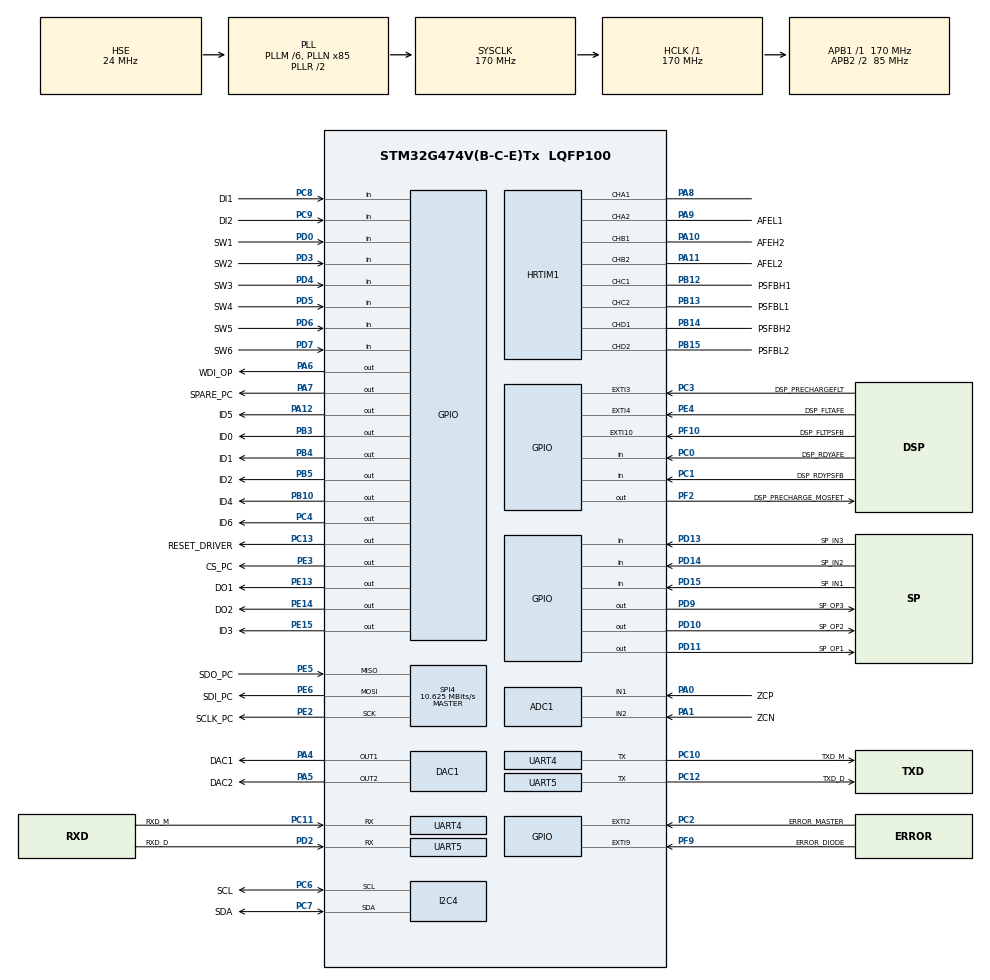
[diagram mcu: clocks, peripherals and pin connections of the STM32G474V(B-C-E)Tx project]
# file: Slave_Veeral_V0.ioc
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ADC1.Channel-0\#ChannelRegularConversion=ADC_CHANNEL_1
ADC1.Channel-1\#ChannelRegularConversion=ADC_CHANNEL_1
ADC1.NbrOfConversion=2
ADC1.NbrOfConversionFlag=1
ADC1.OffsetNumber-0\#ChannelRegularConversion=ADC_OFFSET_NONE
ADC1.OffsetNumber-1\#ChannelRegularConversion=ADC_OFFSET_NONE
ADC1.Rank-0\#ChannelRegularConversion=1
ADC1.Rank-1\#ChannelRegularConversion=2
ADC1.SamplingTime-0\#ChannelRegularConversion=ADC_SAMPLETIME_2CYCLES_5
ADC1.SamplingTime-1\#ChannelRegularConversion=ADC_SAMPLETIME_2CYCLES_5
ADC1.master=1
DAC1.DAC_Channel-DAC_OUT2=DAC_CHANNEL_2
Dma.ADC1.0.Direction=DMA_PERIPH_TO_MEMORY
Dma.ADC1.0.EventEnable=DISABLE
Dma.ADC1.0.Instance=DMA1_Channel1
Dma.ADC1.0.MemDataAlignment=DMA_MDATAALIGN_HALFWORD
Dma.ADC1.0.MemInc=DMA_MINC_ENABLE
Dma.ADC1.0.Mode=DMA_NORMAL
Dma.ADC1.0.PeriphDataAlignment=DMA_PDATAALIGN_HALFWORD
Dma.ADC1.0.PeriphInc=DMA_PINC_DISABLE
Dma.ADC1.0.Polarity=HAL_DMAMUX_REQ_GEN_RISING
Dma.ADC1.0.Priority=DMA_PRIORITY_LOW
Dma.ADC1.0.RequestNumber=1
Dma.ADC1.0.SignalID=NONE
Dma.ADC1.0.SyncEnable=DISABLE
Dma.ADC1.0.SyncPolarity=HAL_DMAMUX_SYNC_NO_EVENT
Dma.ADC1.0.SyncRequestNumber=1
Dma.ADC1.0.SyncSignalID=NONE
Dma.Request0=ADC1
HRTIM1.CompareUnit1-Output_TB1TB2=HRTIM_COMPAREUNIT_1
HRTIM1.CompareUnit1-Output_TC1TC2=HRTIM_COMPAREUNIT_1
HRTIM1.CompareUnit1-Output_TD1TD2=HRTIM_COMPAREUNIT_1
HRTIM1.CompareUnit2-Output_TC1TC2=HRTIM_COMPAREUNIT_2
HRTIM1.CompareUnit2-Output_TD1TD2=HRTIM_COMPAREUNIT_2
HRTIM1.CompareUnit3-Output_TB1TB2=HRTIM_COMPAREUNIT_3
HRTIM1.CompareValue1-Output_TB1TB2=0
HRTIM1.CompareValue1-Output_TC1TC2=0
HRTIM1.CompareValue1-Output_TD1TD2=0
HRTIM1.CompareValue2-Output_TC1TC2=4250
HRTIM1.CompareValue2-Output_TD1TD2=4250
HRTIM1.CompareValue3-Output_TB1TB2=3
HRTIM1.DeadTimeInsertion-Output_TB1TB2=HRTIM_TIMDEADTIMEINSERTION_ENABLED
HRTIM1.DeadTimeInsertion-Output_TC1TC2=HRTIM_TIMDEADTIMEINSERTION_ENABLED
HRTIM1.DeadTimeInsertion-Output_TD1TD2=HRTIM_TIMDEADTIMEINSERTION_ENABLED
HRTIM1.Deadtimeconfig-Output_TB1TB2=HRTIM_TIMERINDEX_TIMER_B
HRTIM1.FallingValue-Output_TB1TB2=500
HRTIM1.FallingValue-Output_TC1TC2=435
HRTIM1.FallingValue-Output_TD1TD2=435
HRTIM1.GreaterCMP3_TB=HRTIM_TIMERGTCMP3_GREATER
HRTIM1.NumberResetSource1-Output_TC1TC2=1
HRTIM1.NumberResetSource1-Output_TD1TD2=1
HRTIM1.NumberResetTrigger-Output_TB1TB2=1
HRTIM1.NumberResetTrigger-Output_TC1TC2=1
HRTIM1.NumberResetTrigger-Output_TD1TD2=1
HRTIM1.NumberSetSource1-Output_TC1TC2=1
HRTIM1.NumberSetSource1-Output_TD1TD2=1
HRTIM1.Periode_TB=34000
HRTIM1.Periode_TC=8500
HRTIM1.Periode_TD=8500
HRTIM1.PrescalerDead-Output_TB1TB2=HRTIM_TIMDEADTIME_PRESCALERRATIO_DIV4
HRTIM1.PrescalerDead-Output_TC1TC2=HRTIM_TIMDEADTIME_PRESCALERRATIO_DIV2
HRTIM1.PrescalerDead-Output_TD1TD2=HRTIM_TIMDEADTIME_PRESCALERRATIO_DIV2
HRTIM1.PrescalerRatio_TB=HRTIM_PRESCALERRATIO_DIV1
HRTIM1.PrescalerRatio_TC=HRTIM_PRESCALERRATIO_DIV1
HRTIM1.PrescalerRatio_TD=HRTIM_PRESCALERRATIO_DIV1
HRTIM1.ResetOutput1_Source1-Output_TC1TC2=HRTIM_OUTPUTRESET_TIMCMP2
HRTIM1.ResetOutput1_Source1-Output_TD1TD2=HRTIM_OUTPUTRESET_TIMCMP2
HRTIM1.ResetTrigger1-Output_TB1TB2=HRTIM_TIMRESETTRIGGER_UPDATE
HRTIM1.ResetTrigger1-Output_TC1TC2=HRTIM_TIMRESETTRIGGER_UPDATE
HRTIM1.ResetTrigger1-Output_TD1TD2=HRTIM_TIMRESETTRIGGER_UPDATE
HRTIM1.RisingValue-Output_TB1TB2=500
HRTIM1.RisingValue-Output_TC1TC2=435
HRTIM1.RisingValue-Output_TD1TD2=435
HRTIM1.SetOutput1_Source1-Output_TC1TC2=HRTIM_OUTPUTSET_TIMCMP1
HRTIM1.SetOutput1_Source1-Output_TD1TD2=HRTIM_OUTPUTSET_TIMCMP1
I2C4.Timing=0x30A0A7FB
Mcu.Family=STM32G4
Mcu.Name=STM32G474V(B-C-E)Tx
Mcu.Package=LQFP100
NVIC.DMA1_Channel1_IRQn=true\:0\:0\:false\:false\:true\:false\:true\:true
NVIC.EXTI15_10_IRQn=true\:0\:0\:false\:false\:true\:true\:true\:true
NVIC.EXTI2_IRQn=true\:0\:0\:false\:false\:true\:true\:true\:true
NVIC.EXTI3_IRQn=true\:0\:0\:false\:false\:true\:true\:true\:true
NVIC.EXTI4_IRQn=true\:0\:0\:false\:false\:true\:true\:true\:true
NVIC.PriorityGroup=NVIC_PRIORITYGROUP_4
NVIC.TIM1_UP_TIM16_IRQn=true\:0\:0\:false\:false\:true\:true\:true\:true
NVIC.TIM4_IRQn=true\:0\:0\:false\:false\:true\:true\:true\:true
NVIC.TIM6_DAC_IRQn=true\:0\:0\:false\:false\:true\:true\:true\:true
NVIC.TIM7_DAC_IRQn=true\:0\:0\:false\:false\:true\:true\:true\:true
NVIC.UART5_IRQn=true\:0\:0\:false\:false\:true\:true\:true\:true
PA0.GPIO_Label=ZCP
PA0.Mode=IN1-Single-Ended
PA0.Signal=ADC1_IN1
PA1.GPIO_Label=ZCN
PA1.Mode=IN2-Single-Ended
PA1.Signal=ADC1_IN2
PA10.GPIO_Label=AFEH2
PA10.Mode=Output_TB1TB2
PA10.Signal=HRTIM1_CHB1
PA11.GPIO_Label=AFEL2
PA11.Mode=Output_TB1TB2
PA11.Signal=HRTIM1_CHB2
PA12.GPIO_Label=ID5
PA12.GPIO_PuPd=GPIO_PULLDOWN
PA12.Signal=GPIO_Output
PA13.Mode=Serial_Wire
PA13.Signal=SYS_JTMS-SWDIO
PA14.Mode=Serial_Wire
PA14.Signal=SYS_JTCK-SWCLK
PA4.GPIO_Label=DAC1
PA4.Signal=COMP_DAC11_group
PA5.GPIO_Label=DAC2
PA5.Signal=COMP_DAC12_group
PA6.GPIO_Label=WDI_OP
PA6.GPIO_PuPd=GPIO_PULLDOWN
PA6.Signal=GPIO_Output
PA7.GPIO_Label=SPARE_PC
PA7.GPIO_PuPd=GPIO_PULLDOWN
PA7.Signal=GPIO_Output
PA8.Mode=Output_TA1TA2
PA8.Signal=HRTIM1_CHA1
PA9.GPIO_Label=AFEL1
PA9.Mode=Output_TA1TA2
PA9.Signal=HRTIM1_CHA2
PB10.GPIO_Label=ID4
PB10.GPIO_PuPd=GPIO_PULLDOWN
PB10.Signal=GPIO_Output
PB12.GPIO_Label=PSFBH1
PB12.Mode=Output_TC1TC2
PB12.Signal=HRTIM1_CHC1
PB13.GPIO_Label=PSFBL1
PB13.Mode=Output_TC1TC2
PB13.Signal=HRTIM1_CHC2
PB14.GPIO_Label=PSFBH2
PB14.Mode=Output_TD1TD2
PB14.Signal=HRTIM1_CHD1
PB15.GPIO_Label=PSFBL2
PB15.Mode=Output_TD1TD2
PB15.Signal=HRTIM1_CHD2
PB3.GPIO_Label=ID0
PB3.GPIO_PuPd=GPIO_PULLDOWN
PB3.Signal=GPIO_Output
PB4.GPIO_Label=ID1
PB4.GPIO_PuPd=GPIO_PULLDOWN
PB4.Signal=GPIO_Output
PB5.GPIO_Label=ID2
PB5.GPIO_PuPd=GPIO_PULLDOWN
PB5.Signal=GPIO_Output
PC0.GPIO_Label=DSP_RDYAFE
PC0.GPIO_PuPd=GPIO_PULLDOWN
PC0.Signal=GPIO_Input
PC1.GPIO_Label=DSP_RDYPSFB
PC1.GPIO_PuPd=GPIO_PULLDOWN
PC1.Signal=GPIO_Input
PC10.GPIO_Label=TXD_M
PC10.Mode=Asynchronous
PC10.Signal=UART4_TX
PC11.GPIO_Label=RXD_M
PC11.Mode=Asynchronous
PC11.Signal=UART4_RX
PC12.GPIO_Label=TXD_D
PC12.Mode=Asynchronous
PC12.Signal=UART5_TX
PC13.GPIO_Label=RESET_DRIVER
PC13.GPIO_PuPd=GPIO_PULLDOWN
PC13.Signal=GPIO_Output
PC2.GPIO_Label=ERROR_MASTER
PC2.GPIO_ModeDefaultEXTI=GPIO_MODE_IT_FALLING
PC2.GPIO_PuPd=GPIO_PULLDOWN
PC2.Signal=GPXTI2
PC3.GPIO_Label=DSP_PRECHARGEFLT
PC3.GPIO_ModeDefaultEXTI=GPIO_MODE_IT_FALLING
PC3.GPIO_PuPd=GPIO_PULLDOWN
PC3.Signal=GPXTI3
PC4.GPIO_Label=ID6
PC4.GPIO_PuPd=GPIO_PULLDOWN
PC4.Signal=GPIO_Output
PC6.GPIO_Label=SCL
PC6.Mode=I2C
PC6.Signal=I2C4_SCL
PC7.GPIO_Label=SDA
PC7.Mode=I2C
PC7.Signal=I2C4_SDA
PC8.GPIO_Label=DI1
PC8.GPIO_PuPd=GPIO_PULLDOWN
PC8.Signal=GPIO_Input
PC9.GPIO_Label=DI2
PC9.GPIO_PuPd=GPIO_PULLDOWN
PC9.Signal=GPIO_Input
PD0.GPIO_Label=SW1
PD0.GPIO_PuPd=GPIO_PULLDOWN
PD0.Signal=GPIO_Input
PD10.GPIO_Label=SP_OP2
PD10.GPIO_PuPd=GPIO_PULLDOWN
PD10.Signal=GPIO_Output
PD11.GPIO_Label=SP_OP1
PD11.GPIO_PuPd=GPIO_PULLDOWN
PD11.Signal=GPIO_Output
PD13.GPIO_Label=SP_IN3
PD13.GPIO_PuPd=GPIO_PULLDOWN
PD13.Signal=GPIO_Input
PD14.GPIO_Label=SP_IN2
PD14.GPIO_PuPd=GPIO_PULLDOWN
PD14.Signal=GPIO_Input
PD15.GPIO_Label=SP_IN1
PD15.GPIO_PuPd=GPIO_PULLDOWN
PD15.Signal=GPIO_Input
PD2.GPIO_Label=RXD_D
PD2.Mode=Asynchronous
PD2.Signal=UART5_RX
PD3.GPIO_Label=SW2
PD3.GPIO_PuPd=GPIO_PULLDOWN
PD3.Signal=GPIO_Input
PD4.GPIO_Label=SW3
PD4.GPIO_PuPd=GPIO_PULLDOWN
PD4.Signal=GPIO_Input
PD5.GPIO_Label=SW4
PD5.GPIO_PuPd=GPIO_PULLDOWN
PD5.Signal=GPIO_Input
PD6.GPIO_Label=SW5
PD6.GPIO_PuPd=GPIO_PULLDOWN
PD6.Signal=GPIO_Input
PD7.GPIO_Label=SW6
PD7.GPIO_PuPd=GPIO_PULLDOWN
PD7.Signal=GPIO_Input
PD9.GPIO_Label=SP_OP3
PD9.GPIO_PuPd=GPIO_PULLDOWN
PD9.Signal=GPIO_Output
PE13.GPIO_Label=DO1
PE13.GPIO_PuPd=GPIO_PULLDOWN
PE13.Signal=GPIO_Output
PE14.GPIO_Label=DO2
PE14.GPIO_PuPd=GPIO_PULLDOWN
PE14.Signal=GPIO_Output
PE15.GPIO_Label=ID3
PE15.GPIO_PuPd=GPIO_PULLDOWN
PE15.Signal=GPIO_Output
PE2.GPIO_Label=SCLK_PC
PE2.Mode=Full_Duplex_Master
PE2.Signal=SPI4_SCK
PE3.GPIO_Label=CS_PC
PE3.GPIO_PuPd=GPIO_PULLDOWN
PE3.Signal=GPIO_Output
PE4.GPIO_Label=DSP_FLTAFE
PE4.GPIO_ModeDefaultEXTI=GPIO_MODE_IT_FALLING
PE4.GPIO_PuPd=GPIO_PULLDOWN
PE4.Signal=GPXTI4
PE5.GPIO_Label=SDO_PC
PE5.Mode=Full_Duplex_Master
PE5.Signal=SPI4_MISO
PE6.GPIO_Label=SDI_PC
PE6.Mode=Full_Duplex_Master
PE6.Signal=SPI4_MOSI
PF0-OSC_IN.Mode=HSE-External-Oscillator
PF0-OSC_IN.Signal=RCC_OSC_IN
PF1-OSC_OUT.Mode=HSE-External-Oscillator
PF1-OSC_OUT.Signal=RCC_OSC_OUT
PF10.GPIO_Label=DSP_FLTPSFB
PF10.GPIO_ModeDefaultEXTI=GPIO_MODE_IT_FALLING
PF10.Signal=GPXTI10
PF2.GPIO_Label=DSP_PRECHARGE_MOSFET
PF2.GPIO_PuPd=GPIO_PULLDOWN
PF2.Signal=GPIO_Output
PF9.GPIO_Label=ERROR_DIODE
PF9.GPIO_ModeDefaultEXTI=GPIO_MODE_IT_FALLING
PF9.GPIO_PuPd=GPIO_PULLDOWN
PF9.Signal=GPXTI9
ProjectManager.HeapSize=0x200
ProjectManager.StackSize=0x400
ProjectManager.TargetToolchain=STM32CubeIDE
RCC.ADC12Freq_Value=170000000
RCC.ADC345Freq_Value=170000000
RCC.AHBFreq_Value=170000000
RCC.APB1Freq_Value=170000000
RCC.APB1TimFreq_Value=170000000
RCC.APB2CLKDivider=RCC_HCLK_DIV2
RCC.APB2Freq_Value=85000000
RCC.APB2TimFreq_Value=170000000
RCC.CortexFreq_Value=170000000
RCC.EXTERNAL_CLOCK_VALUE=12288000
RCC.HCLKFreq_Value=170000000
RCC.HSE_VALUE=24000000
RCC.HSI48_VALUE=48000000
RCC.HSI_VALUE=16000000
RCC.LSE_VALUE=32768
RCC.PLLM=RCC_PLLM_DIV6
RCC.PLLN=85
RCC.PLLSourceVirtual=RCC_PLLSOURCE_HSE
RCC.SYSCLKFreq_VALUE=170000000
RCC.SYSCLKSource=RCC_SYSCLKSOURCE_PLLCLK
RCC.USBFreq_Value=170000000
RCC.VCOOutputFreq_Value=340000000
SH.COMP_DAC11_group.0=DAC1_OUT1,DAC_OUT1
SH.COMP_DAC12_group.0=DAC1_OUT2,DAC_OUT2
SPI4.BaudRatePrescaler=SPI_BAUDRATEPRESCALER_8
SPI4.CalculateBaudRate=10.625 MBits/s
SPI4.DataSize=SPI_DATASIZE_8BIT
SPI4.Direction=SPI_DIRECTION_2LINES
SPI4.Mode=SPI_MODE_MASTER
SPI4.VirtualType=VM_MASTER
VP_HRTIM1_VS_hrtimTimerENoOutput.Mode=No_output_TE
VP_SYS_VS_DBSignals.Mode=DisableDeadBatterySignals
VP_SYS_V_VREFBUF.Mode=ExternalMode
VP_TIM1_VS_ClockSourceINT.Mode=Internal
VP_TIM4_VS_ClockSourceINT.Mode=Internal
VP_TIM6_VS_ClockSourceINT.Mode=Enable_Timer
VP_TIM7_VS_ClockSourceINT.Mode=Enable_Timer
board=custom

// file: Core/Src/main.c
/* USER CODE BEGIN Header */
/**
  ******************************************************************************
  * @file           : main.c
  * @brief          : Main program body
  ******************************************************************************
  * @attention
  *
  * Copyright (c) 2024 STMicroelectronics.
  * All rights reserved.
  *
  * This software is licensed under terms that can be found in the LICENSE file
  * in the root directory of this software component.
  * If no LICENSE file comes with this software, it is provided AS-IS.
  *
  ******************************************************************************
  */
/* USER CODE END Header */
#include "main.h"
#include "adc.h"
#include "dac.h"
#include "dma.h"
#include "hrtim.h"
#include "i2c.h"
#include "spi.h"
#include "tim.h"
#include "usart.h"
#include "gpio.h"

/* USER CODE BEGIN Includes */

#include "process.h"
#include"debug.h"
#include"i2cEeprom.h"
#include "protection.h"
#include "ntc_measurement.h"
#include "io.h"
#include "pcp.h"
//#include "CAN1_Transmitting.h"
//#include "CAN2_Transmitting.h"
//#include "CAN1_Receving.h"
//#include "CAN2_Receving.h"
//#include "Can_Data_Xchange.h"
#include "error_display.h"
//#include "ModbusRTU_Master.h"
/* USER CODE END Includes */

/* USER CODE BEGIN PD */
#define CONNECT 0x05  // it it for CAN Debug and Connection Indication
#define DISCONNECT 0x00 // it it for CAN Debug and Connection Indication
/* USER CODE END PD */

/* USER CODE BEGIN PM */
#define FACTORDEVISION 0.1 // It is used in the CAN Protocol

/* USER CODE END PM */

/* USER CODE BEGIN PV */

//extern uint8_t SUCESS1,FAIL1,SUCESS2,FAIL2,CAN2_Sucess1, CAN2_Sucess2,CAN2_Fail1, CAN2_Fail2;

uint8_t u8temp=1,u8temp1=1,u8MASTER1_STATUS,TXDATA[8],resetFlag=1,u8MASTER1_STATUS_CAN2;
uint16_t u8Slavenumber=0,u8_5mstimer;

extern uint8_t uartRxData;
extern uint16_t ModbusRegister[];
/* USER CODE END PV */

void SystemClock_Config(void);
/* USER CODE BEGIN PFP */
uint16_t SlaveBoardNum(void);
/* USER CODE END PFP */

int main(void)
{

  /* MCU Configuration--------------------------------------------------------*/

  /* Reset of all peripherals, Initializes the Flash interface and the Systick. */
  HAL_Init();

  /* Configure the system clock */
  SystemClock_Config();

  /* Initialize all configured peripherals */
  MX_GPIO_Init();
  MX_DMA_Init();
  MX_HRTIM1_Init();
  MX_TIM7_Init();
  MX_DAC1_Init();
  MX_I2C4_Init();
  MX_SPI4_Init();
  MX_UART4_Init();
  MX_UART5_Init();
  MX_TIM1_Init();
  MX_TIM4_Init();
  MX_TIM6_Init();
  MX_ADC1_Init();
  /* USER CODE BEGIN 2 */
  para_load();

	// Define ManualSlaveNo for Testing.
#ifdef ManualSlaveNo
	u8Slavenumber=1;
#else
	u8Slavenumber = SlaveBoardNum();
	if(u8Slavenumber == 0 || u8Slavenumber > 39 ){
		fault7.bits.cellAddress_fault = 1;
		add_error_to_list(28);
	}

#endif

//	CAN2_Identification();
//	MX_FDCAN1_Init();
//	MX_FDCAN2_Init();
	ControlInit(); // peripheral Initialization
	turnOff(); // Ensuring the Turning off of AFE and PSFB pulses

	phaseShift_Pwm(); // Phase Shift Selection based on Slave Number Selected.

  /* USER CODE END 2 */

  /* Infinite loop */
  /* USER CODE BEGIN WHILE */
	HAL_UART_Receive_IT(&huart5 , &uartRxData , 1);
	ModbusRegister[0] = 20;
	ModbusRegister[1] = 15;
	ModbusRegister[2] = 20;
	ModbusRegister[3] = 4;
	ModbusRegister[4] = 5;
	ModbusRegister[5] = 6;
	while (1)
	{
		if(cmd.bits.fault_reset == 1){
		//	NVIC_SystemReset();	// System reset
			manual_fault_reset(); // Manual reset of Fault over command from Master

		}

		if (mSec1_Flag==1){
			getDigiIn();

	//			if((FAIL1 !=0) || (FAIL2 != 0))
	//			{
	//				HAL_FDCAN_Stop(&hfdcan1);
	//				u8Slavenumber = SlaveBoardNum();
	//				MX_FDCAN1_Init();
	//				FAIL1=0;
	//				FAIL2=0;
	//			}
	//			else
	//			{
	//			}

	//			if((CAN2_Fail1 !=0) || (CAN2_Fail2 != 0))
	//			{
	//				HAL_FDCAN_Stop(&hfdcan2);
	//				u8Slavenumber = SlaveBoardNum();
	//				MX_FDCAN2_Init();
	//				CAN2_Fail1=0;
	//				CAN2_Fail2=0;
	//			}
	//			else
	//			{
	//			}
			//CAN_DATA_XCHANGING(); // Exchange of Data between the Master and Slave
			mSec1_Flag=0;
		}

		//Task Executed at every 40 mSec
		if (mSec40_Flag==1){

			static uint8_t u8teamlastvalue;
			if(u8MASTER1_STATUS!=u8teamlastvalue)
			{
	//				API_CAN_HEARTBEAT_CELL0139_MASTER01(CONNECT);
			}
			else
			{
	//				API_CAN_HEARTBEAT_CELL0139_MASTER01(DISCONNECT);
			}
			u8teamlastvalue=u8MASTER1_STATUS;

			/*if((FAIL1 !=0) || (FAIL2 != 0))
			{
				HAL_FDCAN_Stop(&hfdcan1);
				u8Slavenumber = SlaveBoardNum();
				MX_FDCAN1_Init();
				FAIL1=0;
				FAIL2=0;
			}
			else
			{

			}*/

			/*CAN2*/
			static uint8_t u8teamlastvalue_CAN2;
			if(u8MASTER1_STATUS_CAN2!=u8teamlastvalue_CAN2)
			{
	//				API_CAN2_HEARTBEAT_CELL0139_MASTER01(CONNECT);
			}
			else
			{
	//				API_CAN2_HEARTBEAT_CELL0139_MASTER01(DISCONNECT);
			}
			u8teamlastvalue_CAN2=u8MASTER1_STATUS_CAN2;

			/*if((CAN2_Fail1 !=0) || (CAN2_Fail2 != 0))
			{
				HAL_FDCAN_Stop(&hfdcan2);
				u8Slavenumber = SlaveBoardNum();
				MX_FDCAN2_Init();
				CAN2_Fail1=0;
				CAN2_Fail2=0;
			}
			else
			{

			}*/
			mSec40_Flag=0;
		}
		//Task Executed at every 100 mSec
		if (mSec100_Flag==1){
			mSec100_Flag=0;
	//			CAN_DATA_XCHANGING();
		}

		// Task Executed at every 1 Sec
		if(Sec1_Flag==1){
			display_errors(); // show error in display
			u8MASTER1_STATUS=0;
			u8MASTER1_STATUS_CAN2=0;
			Sec1_Flag=0;
			if(cmd.bits.Parameter_Save == 1)
			{
				cmd.bits.Parameter_Save=0;
				para_save();
			}
		}
    /* USER CODE END WHILE */

    /* USER CODE BEGIN 3 */
	//		(u8temp==1) ? MX_FDCAN2_Init() : 0;
	//		u8temp=0;
	//
	//		(u8temp1==1) ? MX_FDCAN1_Init() : 0;
	//		u8temp1=0;
	//		API_CAN_HEARTBEAT_CELL0139_MASTER01(CONNECT);
	//				HAL_Delay(1000);

	//	  PSFBON();
	//	  HAL_Delay(1000);
	//	  PSFBOFF();
	//	  HAL_Delay(1000);
	/* USER CODE END WHILE */

	/* USER CODE BEGIN 3 */
		uartDataHandler();
	}
  /* USER CODE END 3 */
}

void SystemClock_Config(void)
{
  RCC_OscInitTypeDef RCC_OscInitStruct = {0};
  RCC_ClkInitTypeDef RCC_ClkInitStruct = {0};

  /** Configure the main internal regulator output voltage
  */
  HAL_PWREx_ControlVoltageScaling(PWR_REGULATOR_VOLTAGE_SCALE1_BOOST);

  /** Initializes the RCC Oscillators according to the specified parameters
  * in the RCC_OscInitTypeDef structure.
  */
  RCC_OscInitStruct.OscillatorType = RCC_OSCILLATORTYPE_HSE;
  RCC_OscInitStruct.HSEState = RCC_HSE_ON;
  RCC_OscInitStruct.PLL.PLLState = RCC_PLL_ON;
  RCC_OscInitStruct.PLL.PLLSource = RCC_PLLSOURCE_HSE;
  RCC_OscInitStruct.PLL.PLLM = RCC_PLLM_DIV6;
  RCC_OscInitStruct.PLL.PLLN = 85;
  RCC_OscInitStruct.PLL.PLLP = RCC_PLLP_DIV2;
  RCC_OscInitStruct.PLL.PLLQ = RCC_PLLQ_DIV2;
  RCC_OscInitStruct.PLL.PLLR = RCC_PLLR_DIV2;
  if (HAL_RCC_OscConfig(&RCC_OscInitStruct) != HAL_OK)
  {
    Error_Handler();
  }

  /** Initializes the CPU, AHB and APB buses clocks
  */
  RCC_ClkInitStruct.ClockType = RCC_CLOCKTYPE_HCLK|RCC_CLOCKTYPE_SYSCLK
                              |RCC_CLOCKTYPE_PCLK1|RCC_CLOCKTYPE_PCLK2;
  RCC_ClkInitStruct.SYSCLKSource = RCC_SYSCLKSOURCE_PLLCLK;
  RCC_ClkInitStruct.AHBCLKDivider = RCC_SYSCLK_DIV1;
  RCC_ClkInitStruct.APB1CLKDivider = RCC_HCLK_DIV1;
  RCC_ClkInitStruct.APB2CLKDivider = RCC_HCLK_DIV2;

  if (HAL_RCC_ClockConfig(&RCC_ClkInitStruct, FLASH_LATENCY_4) != HAL_OK)
  {
    Error_Handler();
  }
}

/* USER CODE BEGIN 4 */
uint16_t SlaveBoardNum(void)
{
	/*Read bits from GPIO and return from here with Hex Number*/
	uint16_t u16Slavenumber=generate_address();
	return u16Slavenumber;
}
/* USER CODE END 4 */

void Error_Handler(void)
{
  __disable_irq();
  while (1)
  {
  }
}
